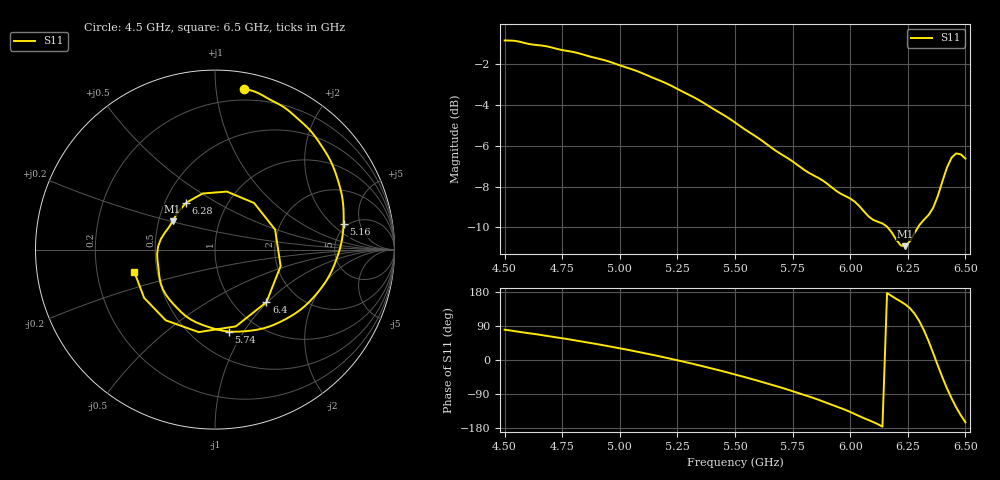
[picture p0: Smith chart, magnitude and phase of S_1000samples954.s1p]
! TOUCHSTONE file generated by CST MICROWAVE STUDIO
! Date and time: Sat Oct 29 22:04:14 2022
! Project name: L.cst
! Parameters = {Di=1.27; Epsilon_r=1.56; InnerDiameter=1.27; Length=2; Lf=10; Lg=60; OuterConductorThickness=0.2921; OuterDiameter=3.6; Wf=3; Wp=41.2; de=1.5; df=6.8; g=0.8; gx=2.06208; gy=2.69969; h=2.34; hf=1.524; px=11.2619; py=13.1183; w=9.7; wx=9.19979; wy=10.4186}
! Header version: 2018
! Port assignment regex: !\s*Touchstone port\s*([0-9]+)\s*=\s*(CST MWS port|CST DS port)\s*([0-9]+|Zmin|Zmax)\s*\(\"(.*)\"\)(\s*mode\s*([0-9]+))?.*
! Touchstone port assignment:
! Touchstone port 1 = CST MWS port 1 ("")
# GHz S DB R 50
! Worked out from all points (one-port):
!   101 points, 4.5 GHz to 6.5 GHz, reference 50 ohm
!   lowest |S11| = -10.9 dB at 6.24 GHz (marker M1), VSWR 1.79, Z = 29.6 + j10.1 ohm
!   |S11| at or under -10 dB: 6.162 GHz to 6.294 GHz (132.4 MHz wide, 2.13 % of centre)
!   S11 on the Smith chart (normalised r, x): 4.5 GHz: 0.11, +1.19; 5.16 GHz: 4.62, +2.84; 5.74 GHz: 0.74, -0.86; 6.28 GHz: 0.64, +0.37; 6.4 GHz: 1.40, -0.98; 6.5 GHz: 0.37, -0.12
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4.5  -0.82 79.9
4.66  -1.07 65.9
4.76  -1.31 56.4
5  -2.04 30.8
5.16  -2.73 11.3
5.26  -3.26 -2.1
5.36  -3.86 -16.5
5.5  -4.85 -38.3
5.62  -5.77 -58.5
5.74  -6.69 -80.3
5.76  -6.84 -84.3
5.88  -7.70 -109.0
6  -8.59 -137.1
6.14  -9.81 -175.9
6.24  -10.93 146.3
6.26  -10.67 136.1
6.28  -10.27 121.8
6.3  -9.90 102.5
6.32  -9.63 78.4
6.34  -9.40 50.0
6.36  -9.05 18.5
6.38  -8.47 -14.1
6.4  -7.75 -45.6
6.42  -7.07 -74.8
6.44  -6.58 -101.2
6.46  -6.37 -124.9
6.48  -6.42 -145.8
6.5  -6.63 -164.2
